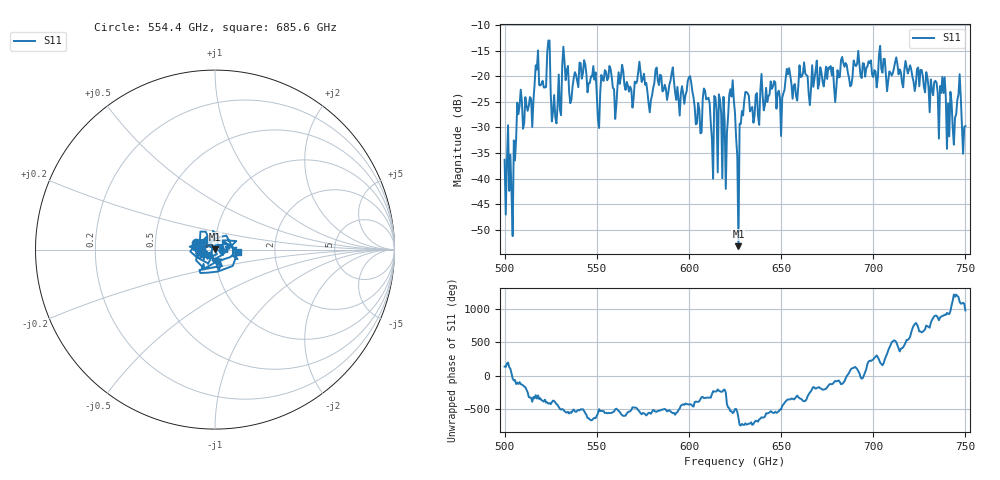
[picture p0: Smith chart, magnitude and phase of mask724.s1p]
!Created with skrf (http://scikit-rf.org).
# GHz S MA R 50.0
!freq magS11 angS11
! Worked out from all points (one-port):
!   401 points, 500 GHz to 750 GHz, reference 50 ohm
!   lowest |S11| = -53.1 dB at 626.9 GHz (marker M1), VSWR 1.00, Z = 50 + j0.22 ohm
!   |S11| at or under -10 dB: start of sweep to end of sweep
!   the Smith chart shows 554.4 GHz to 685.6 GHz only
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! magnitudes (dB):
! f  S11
! 500 GHz  -36.3
! 503.8 GHz  -42.7
! 508.1 GHz  -25.8
! 514.4 GHz  -24.5
! 517.5 GHz  -18.7
! 523.8 GHz  -13.0
! 526.9 GHz  -23.7
! 531.2 GHz  -17.9
! 542.5 GHz  -19.4
! 551.2 GHz  -30.1
! 562.5 GHz  -21.5
! 593.8 GHz  -22.1
! 600.6 GHz  -20.0
! 605.6 GHz  -26.4
! 609.4 GHz  -24.5
! 611.9 GHz  -29.2
! 619.4 GHz  -28.8
! 623.1 GHz  -24.0
! 625 GHz  -27.2
! 626.9 GHz  -53.1
! 631.2 GHz  -23.1
! 656.2 GHz  -24.4
! 687.5 GHz  -22.0
! 718.8 GHz  -19.5
! 737.5 GHz  -20.1
! 742.5 GHz  -25.0
! 746.2 GHz  -23.6
! 750 GHz  -29.7
